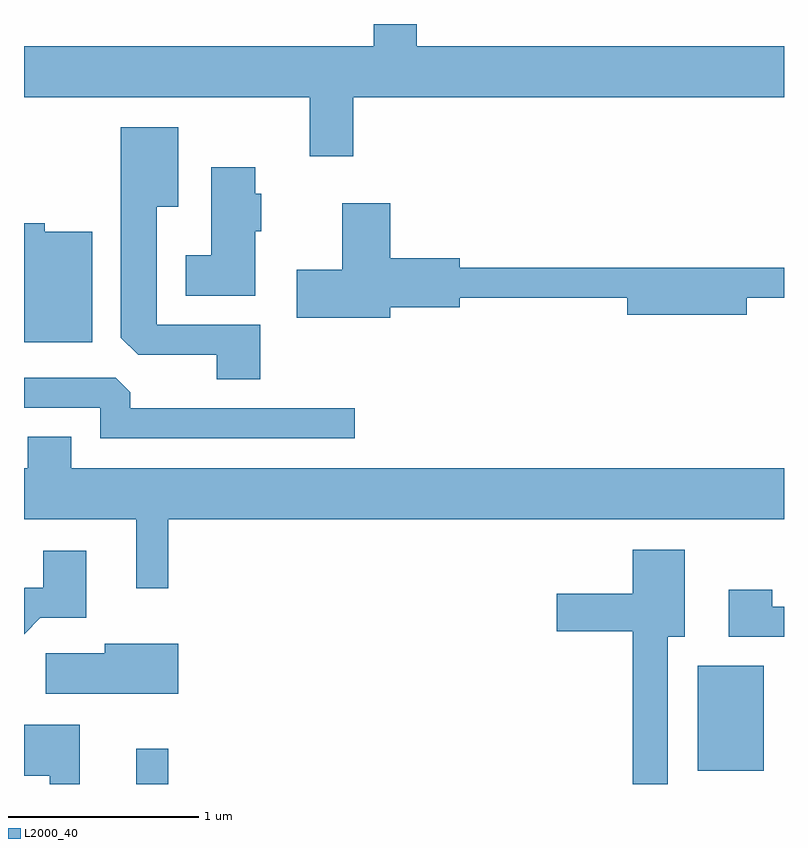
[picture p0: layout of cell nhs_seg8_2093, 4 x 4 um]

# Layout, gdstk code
import gdstk
lib = gdstk.Library(unit=1e-6, precision=1e-09)
def R(c, l, rs):  # rectangles x0, y0, x1, y1
    for r in rs: c.add(gdstk.rectangle(r[:2], r[2:], *l))
def P(c, l, *ps):  # polygons
    for p in ps: c.add(gdstk.Polygon(p, *l))
L2000_40 = (2000, 40)

nhs_seg8_2093 = lib.new_cell('nhs_seg8_2093')
R(nhs_seg8_2093, L2000_40, [(248.201,1848.342,248.369,1848.528), (251.156,1848.411,251.504,1848.964)])
P(nhs_seg8_2093, L2000_40, [(249.344,1851.956),(251.611,1851.956),(251.611,1852.224),(249.679,1852.224),(249.679,1852.342),(249.451,1852.342),(249.451,1852.224),(247.611,1852.224),(247.611,1851.956),(249.116,1851.956),(249.116,1851.646),(249.344,1851.646)],
  [(248.854,1850.759),(248.309,1850.759),(248.309,1851.381),(248.424,1851.381),(248.424,1851.799),(248.121,1851.799),(248.121,1850.692),(248.212,1850.601),(248.626,1850.601),(248.626,1850.471),(248.854,1850.471)],
  [(248.829,1851.251),(248.859,1851.251),(248.859,1851.449),(248.829,1851.449),(248.829,1851.589),(248.596,1851.589),(248.596,1851.124),(248.461,1851.124),(248.461,1850.911),(248.829,1850.911)],
  [(249.539,1850.851),(249.904,1850.851),(249.904,1850.901),(250.786,1850.901),(250.786,1850.811),(251.414,1850.811),(251.414,1850.901),(251.611,1850.901),(251.611,1851.059),(249.904,1851.059),(249.904,1851.109),(249.539,1851.109),(249.539,1851.399),(249.286,1851.399),(249.286,1851.049),(249.046,1851.049),(249.046,1850.796),(249.539,1850.796)],
  [(247.969,1851.249),(247.719,1851.249),(247.719,1851.294),(247.611,1851.294),(247.611,1850.666),(247.969,1850.666)],
  [(249.353,1850.319),(248.169,1850.319),(248.169,1850.404),(248.094,1850.479),(247.611,1850.479),(247.611,1850.321),(248.011,1850.321),(248.011,1850.161),(249.353,1850.161)],
  [(248.369,1849.736),(251.611,1849.736),(251.611,1850.004),(247.859,1850.004),(247.859,1850.169),(247.631,1850.169),(247.631,1850.004),(247.611,1850.004),(247.611,1849.736),(248.201,1849.736),(248.201,1849.373),(248.369,1849.373)],
  [(250.999,1849.116),(251.089,1849.116),(251.089,1849.574),(250.816,1849.574),(250.816,1849.344),(250.416,1849.344),(250.416,1849.146),(250.816,1849.146),(250.816,1848.342),(250.999,1848.342)],
  [(247.697,1849.216),(247.939,1849.216),(247.939,1849.569),(247.711,1849.569),(247.711,1849.374),(247.614,1849.374),(247.611,1849.371),(247.611,1849.13)],
  [(251.611,1849.274),(251.549,1849.274),(251.549,1849.364),(251.321,1849.364),(251.321,1849.116),(251.611,1849.116)],
  [(248.424,1849.079),(248.036,1849.079),(248.036,1849.029),(247.726,1849.029),(247.726,1848.816),(248.424,1848.816)],
  [(247.904,1848.654),(247.611,1848.654),(247.611,1848.386),(247.746,1848.386),(247.746,1848.342),(247.904,1848.342)])

lib.write_gds('nhs_seg8_2093.gds')
